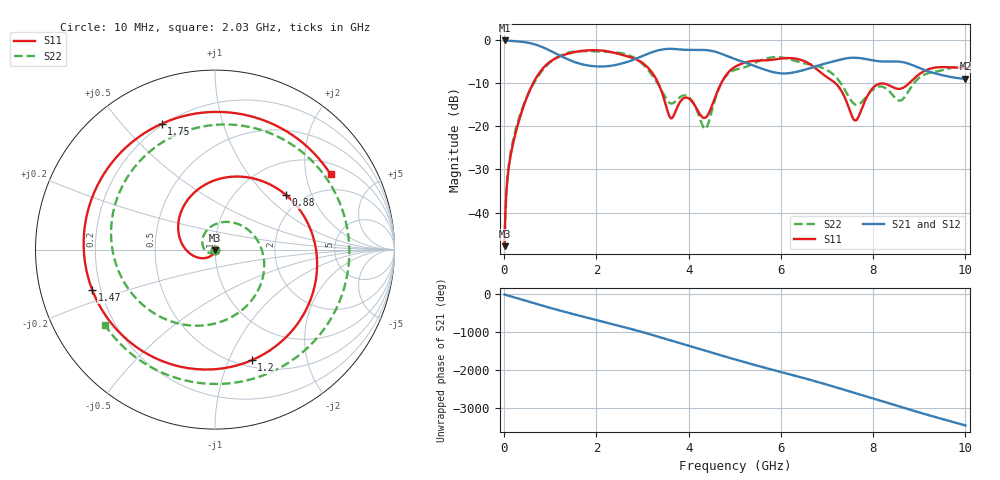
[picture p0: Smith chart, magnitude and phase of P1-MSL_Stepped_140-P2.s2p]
!Created with skrf (http://scikit-rf.org).
! Decimated for TDR Painter validation: every 10th frequency point (10 MHz steps), values unchanged.
# GHz S RI R 50.0
!freq ReS11 ImS11 ReS21 ImS21 ReS12 ImS12 ReS22 ImS22
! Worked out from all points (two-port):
!   1000 points, 10 MHz to 10 GHz, reference 50 ohm
!   highest |S21| = -0.01 dB at 10 MHz (marker M1); lowest = -8.9 dB at 10 GHz (marker M2)
!   |S21| within 3 dB of the highest: start of sweep to 1.114 GHz; 3.135 GHz to 4.684 GHz (1.549 GHz wide, 39.6 % of centre)
!   lowest |S11| = -47.8 dB at 10 MHz (marker M3), VSWR 1.01, Z = 49.9 - j0.401 ohm
!   |S11| at or under -10 dB: start of sweep to 625.5 MHz; 3.343 GHz to 4.704 GHz (1.361 GHz wide, 33.8 % of centre); 7.187 GHz to 8.188 GHz (1.002 GHz wide, 13 % of centre)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
!   |S22| runs from -47.8 to -2.5 dB; largest |S21 - S12| = 7.4e-16
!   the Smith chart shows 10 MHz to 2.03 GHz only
!   S11 on the Smith chart (normalised r, x): 10 MHz: 1.00, -0.01; 880 MHz: 1.65, +1.33; 1.2 GHz: 0.57, -1.22; 1.47 GHz: 0.17, -0.16; 1.75 GHz: 0.19, +0.64; 2.03 GHz: 1.35, +2.77
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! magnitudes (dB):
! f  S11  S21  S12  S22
! 10 MHz  -47.8  0.0  0.0  -47.8
! 100 MHz  -29.5  -0.1  -0.1  -29.0
! 240 MHz  -21.9  -0.2  -0.2  -21.1
! 880 MHz  -6.0  -1.8  -1.8  -6.3
! 1.2 GHz  -3.7  -3.5  -3.5  -3.6
! 1.47 GHz  -2.9  -4.8  -4.8  -2.7
! 1.68 GHz  -2.5  -5.5  -5.5  -2.5
! 1.75 GHz  -2.4  -5.7  -5.7  -2.5
! 2.03 GHz  -2.3  -6.1  -6.1  -2.6
! 2.81 GHz  -4.2  -4.5  -4.5  -4.0
! 3.34 GHz  -9.9  -2.3  -2.3  -10.2
! 3.61 GHz  -18.1  -2.0  -2.0  -14.6
! 3.94 GHz  -13.3  -2.2  -2.2  -12.8
! 4.36 GHz  -18.0  -2.2  -2.2  -20.6
! 4.71 GHz  -9.9  -3.1  -3.1  -9.9
! 5.01 GHz  -6.1  -4.4  -4.4  -6.8
! 6.67 GHz  -5.8  -6.3  -6.3  -5.7
! 7.61 GHz  -18.6  -4.0  -4.0  -14.9
! 8 GHz  -11.0  -4.7  -4.7  -11.4
! 8.34 GHz  -10.4  -4.9  -4.9  -11.7
! 8.6 GHz  -11.2  -5.0  -5.0  -14.0
! 10 GHz  -6.3  -8.9  -8.9  -6.0
